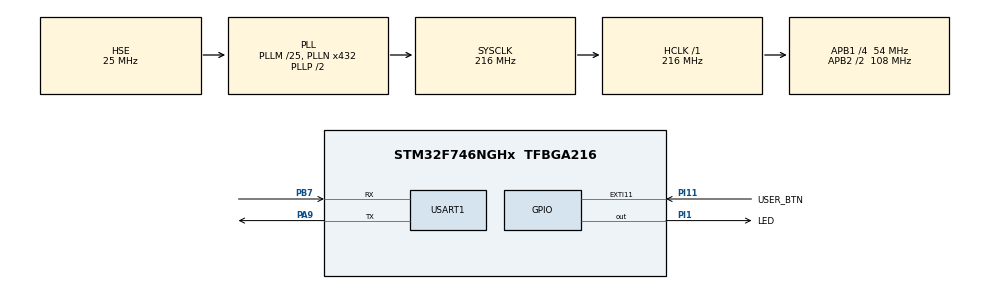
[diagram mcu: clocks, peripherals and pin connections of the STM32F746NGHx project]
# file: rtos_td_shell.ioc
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FREERTOS.Tasks01=defaultTask,0,128,StartDefaultTask,Default,NULL,Dynamic,NULL,NULL
Mcu.Family=STM32F7
Mcu.Name=STM32F746NGHx
Mcu.Package=TFBGA216
NVIC.PriorityGroup=NVIC_PRIORITYGROUP_4
NVIC.TIM6_DAC_IRQn=true\:15\:0\:false\:false\:true\:false\:false\:true\:true
NVIC.TimeBase=TIM6_DAC_IRQn
NVIC.TimeBaseIP=TIM6
PA13.Mode=Serial_Wire
PA13.Signal=SYS_JTMS-SWDIO
PA14.Mode=Serial_Wire
PA14.Signal=SYS_JTCK-SWCLK
PA9.Mode=Asynchronous
PA9.Signal=USART1_TX
PB7.Mode=Asynchronous
PB7.Signal=USART1_RX
PH0/OSC_IN.Mode=HSE-External-Oscillator
PH0/OSC_IN.Signal=RCC_OSC_IN
PH1/OSC_OUT.Mode=HSE-External-Oscillator
PH1/OSC_OUT.Signal=RCC_OSC_OUT
PI1.GPIO_Label=LED
PI1.Signal=GPIO_Output
PI11.GPIO_Label=USER_BTN
PI11.Signal=GPXTI11
ProjectManager.HeapSize=0x200
ProjectManager.StackSize=0x400
ProjectManager.TargetToolchain=STM32CubeIDE
RCC.AHBFreq_Value=216000000
RCC.APB1CLKDivider=RCC_HCLK_DIV4
RCC.APB1Freq_Value=54000000
RCC.APB1TimFreq_Value=108000000
RCC.APB2CLKDivider=RCC_HCLK_DIV2
RCC.APB2Freq_Value=108000000
RCC.APB2TimFreq_Value=216000000
RCC.CortexFreq_Value=216000000
RCC.HCLKFreq_Value=216000000
RCC.HSE_VALUE=25000000
RCC.HSI_VALUE=16000000
RCC.LSE_VALUE=32768
RCC.PLLM=25
RCC.PLLN=432
RCC.PLLSourceVirtual=RCC_PLLSOURCE_HSE
RCC.SYSCLKFreq_VALUE=216000000
RCC.SYSCLKSource=RCC_SYSCLKSOURCE_PLLCLK
RCC.USBFreq_Value=216000000
RCC.VCOOutputFreq_Value=432000000
USART1.VirtualMode-Asynchronous=VM_ASYNC
VP_FREERTOS_VS_CMSIS_V1.Mode=CMSIS_V1
VP_SYS_VS_tim6.Mode=TIM6
board=STM32F746G-DISCO

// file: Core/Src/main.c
/* USER CODE BEGIN Header */
/**
 ******************************************************************************
 * @file           : main.c
 * @brief          : Main program body
 ******************************************************************************
 * @attention
 *
 * Copyright (c) 2022 STMicroelectronics.
 * All rights reserved.
 *
 * This software is licensed under terms that can be found in the LICENSE file
 * in the root directory of this software component.
 * If no LICENSE file comes with this software, it is provided AS-IS.
 *
 ******************************************************************************
 */
/* USER CODE END Header */
#include "main.h"
#include "cmsis_os.h"
#include "usart.h"
#include "gpio.h"
#include <stdlib.h>

/* USER CODE BEGIN Includes */
#include <stdio.h>
#include "shell.h"
#include "drv_uart1.h"
/* USER CODE END Includes */

/* USER CODE BEGIN PV */
extern TaskHandle_t ledTaskHandle;
h_shell_t h_shell;
/* USER CODE END PV */

void SystemClock_Config(void);
void MX_FREERTOS_Init(void);
/* USER CODE BEGIN PFP */

int __io_putchar(int ch)
{
    HAL_UART_Transmit(&huart1, (uint8_t*)&ch, 1, HAL_MAX_DELAY);
    return ch;
}

int led_cmd(h_shell_t * h_shell, int argc, char ** argv)
{
    if (argc < 2)
    {
        int size = snprintf(h_shell->print_buffer, BUFFER_SIZE, "Usage: led <periode_ms>\r\n");
        h_shell->drv.transmit(h_shell->print_buffer, size);
        return -1;
    }

    uint32_t period = atoi(argv[1]);

    if (ledTaskHandle != NULL)
    {
        xTaskNotify(ledTaskHandle, period, eSetValueWithOverwrite);
    }

    int size = snprintf(h_shell->print_buffer, BUFFER_SIZE, "LED command OK: %lu ms\r\n", period);
    h_shell->drv.transmit(h_shell->print_buffer, size);
    return 0;
}

/* USER CODE END PFP */

int main(void)
{

  /* MCU Configuration--------------------------------------------------------*/

  /* Reset of all peripherals, Initializes the Flash interface and the Systick. */
  HAL_Init();

  /* Configure the system clock */
  SystemClock_Config();

  /* Initialize all configured peripherals */
  MX_GPIO_Init();
  MX_USART1_UART_Init();
  /* USER CODE BEGIN 2 */
	h_shell.drv.receive = drv_uart1_receive;
	h_shell.drv.transmit = drv_uart1_transmit;

	shell_init(&h_shell);
	shell_add(&h_shell, 'l', led_cmd, "LED <periode_ms>");

  /* USER CODE END 2 */

  /* Call init function for freertos objects (in freertos.c) */
  MX_FREERTOS_Init();

  /* Start scheduler */
  osKernelStart();

  /* We should never get here as control is now taken by the scheduler */
  /* Infinite loop */
	while (1)
	{

	}
}

void SystemClock_Config(void)
{
  RCC_OscInitTypeDef RCC_OscInitStruct = {0};
  RCC_ClkInitTypeDef RCC_ClkInitStruct = {0};

  /** Configure the main internal regulator output voltage
  */
  __HAL_RCC_PWR_CLK_ENABLE();
  __HAL_PWR_VOLTAGESCALING_CONFIG(PWR_REGULATOR_VOLTAGE_SCALE1);

  /** Initializes the RCC Oscillators according to the specified parameters
  * in the RCC_OscInitTypeDef structure.
  */
  RCC_OscInitStruct.OscillatorType = RCC_OSCILLATORTYPE_HSE;
  RCC_OscInitStruct.HSEState = RCC_HSE_ON;
  RCC_OscInitStruct.PLL.PLLState = RCC_PLL_ON;
  RCC_OscInitStruct.PLL.PLLSource = RCC_PLLSOURCE_HSE;
  RCC_OscInitStruct.PLL.PLLM = 25;
  RCC_OscInitStruct.PLL.PLLN = 432;
  RCC_OscInitStruct.PLL.PLLP = RCC_PLLP_DIV2;
  RCC_OscInitStruct.PLL.PLLQ = 2;
  if (HAL_RCC_OscConfig(&RCC_OscInitStruct) != HAL_OK)
  {
    Error_Handler();
  }

  /** Activate the Over-Drive mode
  */
  if (HAL_PWREx_EnableOverDrive() != HAL_OK)
  {
    Error_Handler();
  }

  /** Initializes the CPU, AHB and APB buses clocks
  */
  RCC_ClkInitStruct.ClockType = RCC_CLOCKTYPE_HCLK|RCC_CLOCKTYPE_SYSCLK
                              |RCC_CLOCKTYPE_PCLK1|RCC_CLOCKTYPE_PCLK2;
  RCC_ClkInitStruct.SYSCLKSource = RCC_SYSCLKSOURCE_PLLCLK;
  RCC_ClkInitStruct.AHBCLKDivider = RCC_SYSCLK_DIV1;
  RCC_ClkInitStruct.APB1CLKDivider = RCC_HCLK_DIV4;
  RCC_ClkInitStruct.APB2CLKDivider = RCC_HCLK_DIV2;

  if (HAL_RCC_ClockConfig(&RCC_ClkInitStruct, FLASH_LATENCY_7) != HAL_OK)
  {
    Error_Handler();
  }
}

void HAL_TIM_PeriodElapsedCallback(TIM_HandleTypeDef *htim)
{
  if (htim->Instance == TIM6) {
    HAL_IncTick();
  }
}

void Error_Handler(void)
{
	__disable_irq();
	while (1)
	{
	}
}

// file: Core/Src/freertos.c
/* USER CODE BEGIN Header */
/**
  ******************************************************************************
  * File Name          : freertos.c
  * Description        : Code for freertos applications
  ******************************************************************************
  * @attention
  *
  * Copyright (c) 2025 STMicroelectronics.
  * All rights reserved.
  *
  * This software is licensed under terms that can be found in the LICENSE file
  * in the root directory of this software component.
  * If no LICENSE file comes with this software, it is provided AS-IS.
  *
  ******************************************************************************
  */
/* USER CODE END Header */

#include "FreeRTOS.h"
#include "task.h"
#include "main.h"
#include "cmsis_os.h"
#include "gpio.h"

/* USER CODE BEGIN Includes */
#include "shell.h"
extern h_shell_t h_shell;

/* USER CODE END Includes */

/* USER CODE BEGIN Variables */
TaskHandle_t myshell_taskHandle;
TaskHandle_t defaultTaskHandle;
TaskHandle_t ledTaskHandle = NULL;
/* USER CODE END Variables */

/* USER CODE BEGIN FunctionPrototypes */
void shell_task(void *argument);
void led_task(void *argument);
/* USER CODE END FunctionPrototypes */

void StartDefaultTask(void * argument);

void MX_FREERTOS_Init(void); /* (MISRA C 2004 rule 8.1) */

/* GetIdleTaskMemory prototype (linked to static allocation support) */
void vApplicationGetIdleTaskMemory( StaticTask_t **ppxIdleTaskTCBBuffer, StackType_t **ppxIdleTaskStackBuffer, uint32_t *pulIdleTaskStackSize );

/* USER CODE BEGIN GET_IDLE_TASK_MEMORY */
static StaticTask_t xIdleTaskTCBBuffer;
static StackType_t xIdleStack[configMINIMAL_STACK_SIZE];

void vApplicationGetIdleTaskMemory( StaticTask_t **ppxIdleTaskTCBBuffer, StackType_t **ppxIdleTaskStackBuffer, uint32_t *pulIdleTaskStackSize )
{
  *ppxIdleTaskTCBBuffer = &xIdleTaskTCBBuffer;
  *ppxIdleTaskStackBuffer = &xIdleStack[0];
  *pulIdleTaskStackSize = configMINIMAL_STACK_SIZE;
  /* place for user code */
}
/* USER CODE END GET_IDLE_TASK_MEMORY */

void MX_FREERTOS_Init(void) {

  /* Create the thread(s) */
  /* definition and creation of defaultTask */

  /* USER CODE BEGIN RTOS_THREADS */
  /* add threads, ... */
  xTaskCreate(StartDefaultTask, "DefaultTask", 128, NULL, 1, &defaultTaskHandle);
  xTaskCreate(shell_task, "ShellTask", 256, NULL, 2, &myshell_taskHandle);
  xTaskCreate(led_task, "LedTask", 128, NULL, 1, &ledTaskHandle);

  /* USER CODE END RTOS_THREADS */

}

void StartDefaultTask(void * argument)
{
  for(;;)
  {
    osDelay(1);
  }
}
void shell_task(void *argument)
{
  shell_run(&h_shell);
}

void led_task(void *argument)
{
  uint32_t period = 0;

  for(;;)
  {
    xTaskNotifyWait(0, 0, &period, portMAX_DELAY);

    if (period == 0)
    {
      HAL_GPIO_WritePin(GPIOI, GPIO_PIN_1, GPIO_PIN_RESET); // OFF
    }
    else
    {
      while (1)
      {
        HAL_GPIO_TogglePin(GPIOI, GPIO_PIN_1);
        vTaskDelay(pdMS_TO_TICKS(period));
        if (ulTaskNotifyTake(pdTRUE, 0)) break; // Break si nouvelle notif
      }
    }
  }
}
